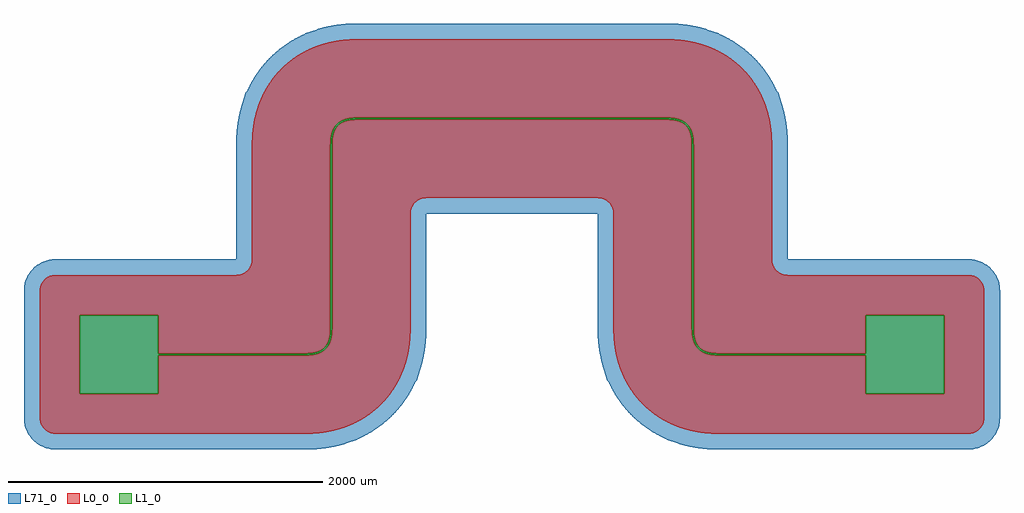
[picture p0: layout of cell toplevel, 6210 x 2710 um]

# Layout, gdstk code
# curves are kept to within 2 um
from math import pi, radians
import gdstk
lib = gdstk.Library(unit=1e-6, precision=1e-09)
def R(c, l, rs):  # rectangles x0, y0, x1, y1
    for r in rs: c.add(gdstk.rectangle(r[:2], r[2:], *l))
def P(c, l, *ps):  # polygons
    for p in ps: c.add(gdstk.Polygon(p, *l))
L0_0 = (0, 0)
L1_0 = (1, 0)
L71_0 = (71, 0)

rectangle = lib.new_cell('rectangle')
R(rectangle, L1_0, [(0,0,500,500)])

offset = lib.new_cell('offset')

square_microwave_port = lib.new_cell('Square microwave port')
square_microwave_port.add(gdstk.Reference(rectangle, (0,0)))
square_microwave_port.add(gdstk.Reference(offset, (0,0)))

rectangle003 = lib.new_cell('rectangle003')
R(rectangle003, L1_0, [(0,0,500,500)])

offset004 = lib.new_cell('offset004')

square_microwave_port002 = lib.new_cell('Square microwave port002')
square_microwave_port002.add(gdstk.Reference(rectangle003, (0,0)))
square_microwave_port002.add(gdstk.Reference(offset004, (0,0)))

extrude = lib.new_cell('extrude')
P(extrude, L1_0, [(0,-5),(950.056,-4.464),(989.113,-0.368),(1021.265,8.552),(1048.659,22.918),(1069.813,41.889),(1084.657,63.841),(1095.298,89.865),(1101.932,120.632),(1104.716,157.034),(1105.007,1321.754),(1105.737,1353.952),(1108.093,1378.844),(1114.516,1408.025),(1124.979,1432.959),(1139.436,1453.487),(1157.714,1469.327),(1180.784,1481.504),(1207.653,1489.541),(1238.28,1493.756),(1279.122,1494.995),(3227.873,1494.965),(3259.134,1493.945),(3283.933,1491.122),(3305.583,1486.223),(3325.427,1478.819),(3340.186,1470.718),(3353.487,1460.564),(3364.353,1449.028),(3373.784,1435.162),(3381.504,1419.216),(3387.371,1401.482),(3393.884,1359.996),(3394.998,1319.127),(3395.259,157.919),(3397.829,122.407),(3403.93,92.465),(3414.087,66.271),(3427.843,44.719),(3437.79,33.883),(3449.841,23.971),(3477.89,8.884),(3511.771,-0.528),(3552.604,-4.571),(4500,-5),(4500,5),(3550.376,5.526),(3511.848,9.624),(3480.784,18.496),(3454.968,32.601),(3435.126,51.627),(3422.268,72.284),(3413.076,96.873),(3407.525,125.416),(3405.212,159.925),(3404.998,1319.139),(3403.794,1361.599),(3401.132,1384.688),(3396.561,1405.796),(3390.438,1423.795),(3381.991,1440.943),(3372.157,1455.281),(3360.183,1467.992),(3346.381,1478.617),(3329.629,1487.894),(3309.27,1495.56),(3286.459,1500.837),(3260.71,1503.859),(3229.708,1504.951),(1279.102,1504.995),(1237.512,1503.727),(1204.712,1499.139),(1176.205,1490.438),(1152.096,1477.6),(1132.008,1460.183),(1116.65,1438.564),(1105.24,1411.863),(1098.321,1381.143),(1095.852,1356.269),(1095.012,1323.539),(1094.744,158.186),(1092.257,123.71),(1086.223,94.417),(1076.213,69.271),(1062.76,49.033),(1042.978,31.147),(1017.641,17.872),(988.152,9.624),(952.222,5.647),(0,5)])

boolean = lib.new_cell('boolean')
P(boolean, L0_0, [(0,250),(0,5),(939.205,5.192),(995.685,11.194),(1038.053,27.937),(1060.564,46.513),(1077.36,71.527),(1088.416,102.652),(1094.003,141.729),(1095.284,1342.966),(1098.321,1381.143),(1105.24,1411.863),(1116.65,1438.564),(1132.627,1460.864),(1155.156,1479.61),(1183.841,1493.329),(1217.084,1501.412),(1257.919,1504.741),(2867.479,1505),(2867.479,2005),(1241.22,2004.468),(1170.292,1999.507),(1102.816,1988.651),(1037.063,1971.392),(975.635,1948.482),(913.898,1917.782),(855.84,1880.467),(804.712,1839.081),(756.924,1790.818),(714.392,1736.955),(677.887,1678.34),(648.361,1616.921),(624.407,1549.172),(604.427,1459.113),(595.589,1360.623),(594.872,599.935),(591.808,579.935),(584.78,560.961),(574.078,543.789),(560.137,529.124),(529.731,511.225),(495,505),(-660.065,504.872),(-680.065,501.808),(-703.53,492.435),(-723.897,477.479),(-739.864,457.896),(-751.808,430.065),(-755,405),(-754.872,-410.065),(-748.775,-439.731),(-737.076,-462.127),(-716.211,-484.078),(-694.436,-496.896),(-675.13,-502.953),(-655,-505),(973.706,-503.907),(1064.759,-494.68),(1149.172,-475.594),(1228.401,-446.724),(1304.98,-406.634),(1355.896,-371.752),(1402.301,-332.65),(1445.903,-287.601),(1482.83,-240.876),(1515.556,-189.995),(1543.359,-135.924),(1566.58,-77.523),(1584.405,-16.075),(1598.884,64.983),(1604.682,149.465),(1605.128,900.065),(1613.104,934.436),(1629.124,960.137),(1643.789,974.078),(1665.564,986.896),(1684.87,992.953),(1705,995),(2800.065,994.872),(2834.436,986.896),(2852.127,977.076),(2867.479,963.897),(2867.479,1495),(1270.381,1494.951),(1217.76,1491.397),(1177.66,1480.2),(1148.396,1462.219),(1127.499,1437.336),(1113.305,1403.947),(1106.244,1361.72),(1104.69,156.148),(1101.679,118.857),(1094.483,87.275),(1082.45,59.847),(1066.117,37.79),(1044.844,20.39),(1017.867,7.277),(986.459,-0.837),(949.169,-4.502),(0,-5),(0,-250),(-500,-250),(-500,250)],
  [(5160.065,-504.872),(5194.436,-496.896),(5223.897,-477.479),(5237.076,-462.127),(5246.896,-444.436),(5254.872,-410.065),(5254.872,410.065),(5246.896,444.436),(5227.479,473.897),(5212.127,487.076),(5194.436,496.896),(5160.065,504.872),(4005,505),(3979.935,508.192),(3952.104,520.136),(3932.521,536.103),(3917.565,556.47),(3908.192,579.935),(3905.128,599.935),(3904.931,1334.184),(3897.187,1448.095),(3881.03,1529.562),(3856.133,1605.852),(3822.113,1678.34),(3780.009,1744.792),(3749.514,1783.428),(3713.674,1821.776),(3675.687,1856.036),(3633.034,1888.341),(3589.372,1915.915),(3543.193,1939.994),(3494.91,1960.344),(3442.895,1977.403),(3361.732,1995.164),(3275.663,2003.816),(2867.479,2005),(2867.479,1505),(3231.473,1504.933),(3289.113,1500.368),(3327.141,1489.016),(3358.111,1469.813),(3380.58,1443.293),(3395.817,1408.403),(3402.715,1373.152),(3404.965,1327.944),(3405.455,152.109),(3409.166,114.377),(3417.568,83.15),(3431.147,57.022),(3449.674,36.704),(3470.02,23.4),(3494.417,13.777),(3522.006,7.973),(3556.449,5.305),(4500,5),(4500,250),(5000,250),(5000,-250),(4500,-250),(4500,-5),(3560.574,-4.805),(3502.953,1.248),(3459.057,18.009),(3433.252,38.461),(3414.087,66.271),(3401.652,101.197),(3395.801,144.619),(3394.934,1331.364),(3391.529,1381.392),(3381.504,1419.216),(3365.899,1447.049),(3344.352,1467.889),(3315.262,1483.028),(3279.694,1491.784),(3227.873,1494.965),(2867.479,1495),(2867.479,963.897),(2886.896,934.436),(2892.953,915.13),(2895,895),(2895.039,169.837),(2900.191,72.986),(2907.864,20.524),(2919.712,-32.378),(2953.276,-128.401),(2975.45,-173.855),(3001.167,-217.35),(3031.245,-259.8),(3063.826,-298.486),(3104.712,-339.081),(3148.014,-374.704),(3198.304,-408.638),(3249.197,-436.354),(3304.534,-460.136),(3360.466,-478.345),(3420.524,-492.136),(3482.566,-500.805),(3578.08,-504.994)])

offset005 = lib.new_cell('offset005')
P(offset005, L71_0, [(3493.709,-602.127),(3580.809,-605),(5156.263,-605),(5205.139,-598.647),(5252.076,-579.898),(5292.816,-549.982),(5319.185,-519.263),(5342.582,-474.469),(5354.006,-425.239),(5355,406.263),(5350.937,445.266),(5342.582,474.469),(5329.898,502.076),(5306.772,535.299),(5277.44,563.182),(5252.076,579.898),(5214.884,595.858),(5185.291,602.726),(5156.263,605),(4005.031,605.031),(4003.234,1389.422),(3997.059,1455.759),(3985.65,1521.805),(3971.365,1577.951),(3943.158,1666.685),(3939.124,1666.685),(3891.89,1757.245),(3850.668,1817.324),(3797.523,1879.22),(3739.487,1933.041),(3667.244,1985.634),(3617.575,2014.569),(3566.685,2039.124),(3566.685,2043.158),(3442.961,2080.784),(3343.718,2098.554),(3237.842,2104.9),(1255.786,2104.817),(1173.217,2100.368),(1095.898,2089.259),(1030.51,2073.804),(933.315,2043.158),(933.315,2039.124),(856.333,2000.027),(788.172,1954.822),(729.634,1905.911),(678.855,1853.471),(619.619,1775.372),(587.84,1722.075),(560.876,1666.685),(556.842,1666.685),(530.772,1585.079),(506.61,1480.769),(495.768,1367.641),(494.969,605.031),(-675.239,604.006),(-705.139,598.647),(-733.89,588.819),(-760.812,574.754),(-785.299,556.772),(-806.772,535.299),(-824.753,510.812),(-838.819,483.89),(-848.647,455.139),(-855,406.263),(-854.006,-425.239),(-842.581,-474.469),(-819.185,-519.263),(-792.816,-549.982),(-752.076,-579.898),(-705.139,-598.647),(-656.263,-605),(926.133,-604.983),(1046.608,-598.211),(1147.374,-579.692),(1266.685,-543.158),(1266.685,-539.124),(1335.533,-504.711),(1402.697,-461.543),(1474.755,-401.788),(1536.386,-335.416),(1586.218,-266.327),(1614.569,-217.575),(1639.124,-166.685),(1643.158,-166.685),(1685.001,-24.788),(1696.657,41.223),(1703.119,108.598),(1705.031,894.969),(2794.969,894.969),(2796.766,110.577),(2802.941,44.24),(2814.35,-21.805),(2828.635,-77.951),(2856.842,-166.685),(2860.876,-166.685),(2887.342,-221.152),(2916.665,-270.832),(2970.329,-343.521),(3037.596,-413.212),(3114.582,-473.671),(3173.503,-509.754),(3233.315,-539.124),(3233.315,-543.158),(3371.028,-584.071),(3431.725,-595.319)])

ground_avoidance = lib.new_cell('Ground avoidance')
ground_avoidance.add(gdstk.Reference(offset005, (0,0)))

toplevel = lib.new_cell('toplevel')
toplevel.add(gdstk.Reference(square_microwave_port, (-500,-250)))
toplevel.add(gdstk.Reference(square_microwave_port002, (5000,250), rotation=pi))
toplevel.add(gdstk.Reference(extrude, (0,0)))
toplevel.add(gdstk.Reference(boolean, (0,0)))
toplevel.add(gdstk.Reference(ground_avoidance, (0,0)))

lib.write_gds('toplevel.gds')
